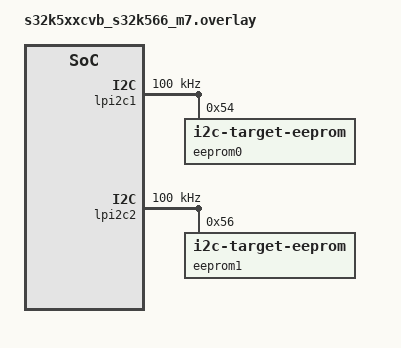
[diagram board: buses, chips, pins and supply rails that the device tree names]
/*
 * Copyright 2025 NXP
 *
 * SPDX-License-Identifier: Apache-2.0
 */

#include <zephyr/dt-bindings/i2c/i2c.h>

/* Connect J217(K7) <-> J110(G10) and J108(E10) <-> J184(L8), each with a 10k Ohm pull-up to 3.3V */

&pinctrl {
	lpi2c1_default: lpi2c1_default {
		group1 {
			pinmux = <(PP2_LPI2C1_SDA_O | PP2_LPI2C1_SDA_I)>,
				 <(PQ2_LPI2C1_SCL_O | PQ2_LPI2C1_SCL_I)>;
			input-enable;
			output-enable;
		};
	};

	lpi2c2_default: lpi2c2_default {
		group1 {
			pinmux = <(PN8_LPI2C2_SDA_O | PN8_LPI2C2_SDA_I)>,
				 <(PN11_LPI2C2_SCL_O | PN11_LPI2C2_SCL_I)>;
			input-enable;
			output-enable;
		};
	};
};

&lpi2c1 {
	status = "okay";
	pinctrl-0 = <&lpi2c1_default>;
	pinctrl-names = "default";
	clock-frequency = <I2C_BITRATE_STANDARD>;

	eeprom0: eeprom@54 {
		compatible = "zephyr,i2c-target-eeprom";
		reg = <0x54>;
		size = <256>;
	};
};

&lpi2c2 {
	pinctrl-0 = <&lpi2c2_default>;
	pinctrl-names = "default";
	clock-frequency = <I2C_BITRATE_STANDARD>;
	status = "okay";

	eeprom1: eeprom@56 {
		compatible = "zephyr,i2c-target-eeprom";
		reg = <0x56>;
		size = <256>;
	};
};
